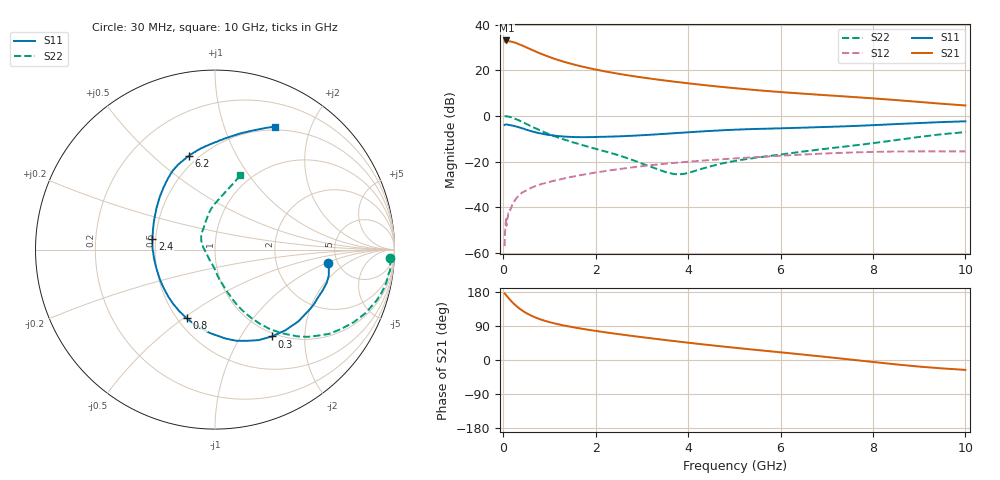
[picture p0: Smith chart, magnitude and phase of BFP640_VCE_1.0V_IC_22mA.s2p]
! Infineon Technologies  Discrete & RF Semiconductors
! BFP640
! VCE =  1.0 V,  IC =  22 mA
! Common Emitter S-Parameters:  Apr 2013
# GHz  S  MA  R  50
!  f  S11  S21  S12  S22
! GHz  MAG  ANG  MAG  ANG  MAG  ANG  MAG  ANG
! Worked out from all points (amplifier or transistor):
!   99 points, 30 MHz to 10 GHz, reference 50 ohm
!   highest |S21| = 33.1 dB at 70 MHz (marker M1)
!   |S21| within 3 dB of that: start of sweep to 497.3 MHz
!   unconditionally stable (mu >= 1): 2.565 GHz to end of sweep
!   at 350 MHz: K = 0.28, MSG = 33.0 dB, |S12| = -34.7 dB
!   at 3.5 GHz: K = 1.04, MAG = 17.0 dB, |S12| = -21.0 dB
!   at 10 GHz: K = 1.08, MAG = 8.4 dB, |S12| = -15.6 dB
!   S11 on the Smith chart (normalised r, x): 30 MHz: 4.22, -1.02; 300 MHz: 0.95, -1.38; 800 MHz: 0.56, -0.52; 2.4 GHz: 0.48, +0.07; 6.2 GHz: 0.45, +0.66; 10 GHz: 0.46, +1.50
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0.03  0.6351 -6.5  42.99 176.0  0.0014 102.6  0.9772 -2.8
0.05  0.6449 -10.5  44.27 173.4  0.0038 82.8  0.9791 -5.4
0.07  0.6497 -14.8  44.95 170.0  0.0039 78.3  0.9767 -7.8
0.15  0.626 -31.4  42.91 158.7  0.0085 76.7  0.9438 -17.5
0.2  0.6128 -40.8  41.7 152.1  0.0116 75.8  0.911 -22.8
0.25  0.5966 -48.9  40.49 146.3  0.014 72.8  0.8718 -27.7
0.3  0.5788 -56.7  38.87 140.8  0.0164 68.9  0.8294 -32.3
0.4  0.538 -70.9  35.28 131.5  0.0206 64.6  0.7438 -40.2
0.5  0.4987 -83.3  31.73 123.8  0.0233 61.4  0.6659 -46.5
0.6  0.4653 -93.7  28.61 117.4  0.0264 59.2  0.5955 -51.5
0.7  0.4369 -103.6  25.75 112.0  0.0291 57.9  0.534 -55.6
0.8  0.4144 -112.4  23.34 107.4  0.0315 56.7  0.4817 -58.9
1  0.3814 -127.7  19.51 100.0  0.0358 55.1  0.3954 -64.3
1.2  0.3604 -140.6  16.65 94.0  0.04 54.2  0.3325 -68.2
1.7  0.3422 -165.7  12.1 82.5  0.051 52.1  0.2309 -74.6
2.4  0.3539 170.0  8.694 69.8  0.066 48.0  0.1469 -84.5
3.4  0.3995 144.7  6.139 54.3  0.0873 40.3  0.0646 -118.2
5.1  0.5025 117.0  3.973 31.2  0.1185 25.8  0.1069 136.1
6.2  0.5409 105.7  3.22 17.9  0.1374 16.5  0.1513 112.0
6.7  0.5611 100.2  2.971 11.6  0.1459 11.7  0.1762 105.3
8.5  0.6621 77.8  2.222 -11.6  0.166 -6.8  0.2947 83.7
10  0.7615 64.1  1.693 -26.1  0.1669 -18.3  0.4414 71.3
